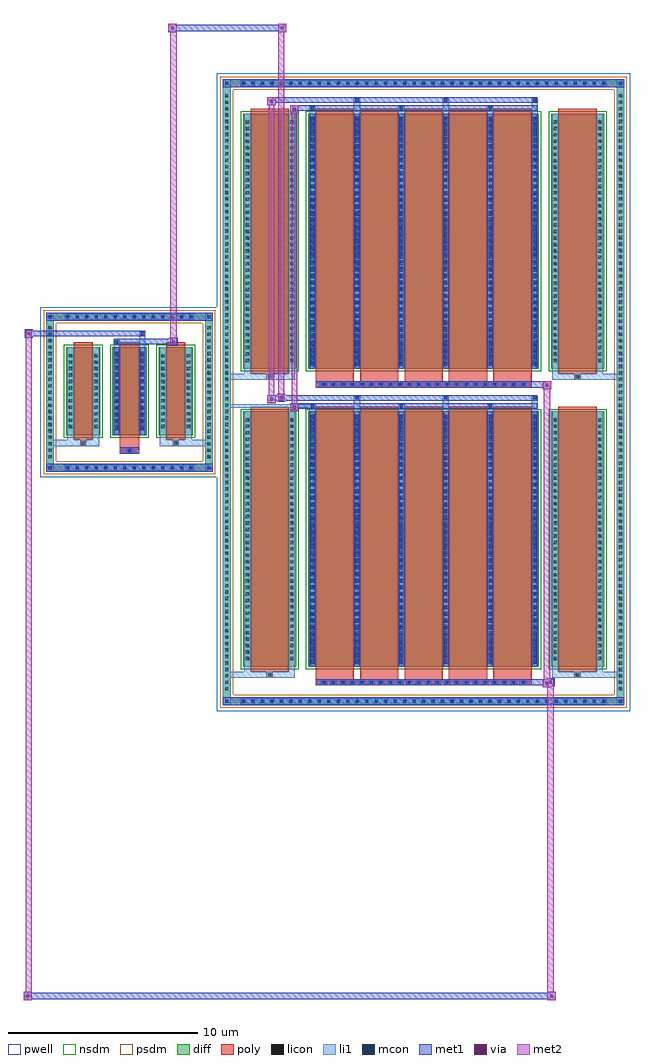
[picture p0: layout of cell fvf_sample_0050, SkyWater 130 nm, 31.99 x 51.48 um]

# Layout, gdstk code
import gdstk
lib = gdstk.Library(unit=1e-6, precision=1e-09)
def R(c, l, rs):  # rectangles x0, y0, x1, y1
    for r in rs: c.add(gdstk.rectangle(r[:2], r[2:], *l))
def A(c, l, x, y, w, h, nx, ny, dx, dy):  # array of equal rectangles
    R(c, l, [(x+i*dx, y+j*dy, x+i*dx+w, y+j*dy+h) for i in range(nx) for j in range(ny)])
def P(c, l, *ps):  # polygons
    for p in ps: c.add(gdstk.Polygon(p, *l))
pwell = (64, 44)
diff = (65, 20)
poly = (66, 20)
licon = (66, 44)
li1 = (67, 20)
mcon = (67, 44)
met1 = (68, 20)
via = (68, 44)
met2 = (69, 20)
nsdm = (93, 44)
psdm = (94, 20)

fvf_sample_0050 = lib.new_cell('fvf_sample_0050')
R(fvf_sample_0050, pwell, [(4.614,-16.816,26.412,16.816), (-4.714,-4.493,4.714,4.493)])
A(fvf_sample_0050, diff, 5.808, -16.506, 0.41, 0.41, 39, 2, 0.5, 32.602)
A(fvf_sample_0050, diff, 4.924, -15.845, 0.41, 0.41, 1, 93, 0, 0.34)
A(fvf_sample_0050, diff, 25.692, -15.845, 0.41, 0.41, 1, 93, 0, 0.34)
A(fvf_sample_0050, diff, -3.455, -4.183, 0.41, 0.41, 14, 2, 0.5, 7.956)
A(fvf_sample_0050, diff, -4.404, -3.605, 0.41, 0.41, 1, 21, 0, 0.34)
A(fvf_sample_0050, diff, 3.994, -3.605, 0.41, 0.41, 1, 21, 0, 0.34)
A(fvf_sample_0050, diff, -3.334, -2.261, 1.796, 4.638, 3, 1, 2.436, 0)
R(fvf_sample_0050, diff, [(5.808,-16.506,25.218,-16.096), (4.924,-15.845,5.334,15.845), (25.692,-15.845,26.102,15.845), (5.994,-14.485,8.788,-1.015), (9.428,-14.485,21.598,-1.015), (22.238,-14.485,25.032,-1.015), (-3.455,-4.183,3.455,-3.773), (-4.404,-3.605,-3.994,3.605), (3.994,-3.605,4.404,3.605), (5.994,1.231,8.788,14.701), (9.428,1.231,21.598,14.701), (22.238,1.231,25.032,14.701), (-3.455,3.773,3.455,4.183), (5.808,16.096,25.218,16.506)])
P(fvf_sample_0050, diff, [(4.404,4.183),(-4.404,4.183),(-4.404,-3.773),(-3.994,-3.773),(-3.994,3.773),(3.994,3.773),(3.994,-3.773),(-3.994,-3.773),(-4.404,-3.773),(-4.404,-4.183),(4.404,-4.183)],
  [(26.102,16.506),(4.924,16.506),(4.924,-16.096),(5.334,-16.096),(5.334,16.096),(25.692,16.096),(25.692,-16.096),(5.334,-16.096),(4.924,-16.096),(4.924,-16.506),(26.102,-16.506)])
A(fvf_sample_0050, poly, 10.098, -15.466, 0.33, 0.33, 22, 2, 0.5, 15.716)
A(fvf_sample_0050, poly, 9.818, -15.136, 2.014, 0.401, 5, 2, 2.344, 15.716)
A(fvf_sample_0050, poly, 9.818, -14.735, 2.014, 13.97, 5, 2, 2.344, 15.716)
A(fvf_sample_0050, poly, -2.944, -2.511, 1.016, 5.138, 3, 1, 2.436, 0)
R(fvf_sample_0050, poly, [(9.818,-15.466,21.208,-15.136), (7.226,-15.065,7.556,-14.735), (7.226,-15.065,7.556,-14.735), (23.47,-15.065,23.8,-14.735), (23.47,-15.065,23.8,-14.735), (6.384,-14.735,8.398,-0.765), (22.628,-14.735,24.642,-0.765), (-0.508,-3.242,0.508,-2.912), (-0.165,-3.242,0.165,-2.912), (-0.508,-2.912,0.508,-2.511), (-2.601,-2.841,-2.271,-2.511), (-2.601,-2.841,-2.271,-2.511), (2.271,-2.841,2.601,-2.511), (2.271,-2.841,2.601,-2.511), (9.818,0.25,21.208,0.58), (7.226,0.651,7.556,0.981), (7.226,0.651,7.556,0.981), (23.47,0.651,23.8,0.981), (23.47,0.651,23.8,0.981), (6.384,0.981,8.398,14.951), (22.628,0.981,24.642,14.951)])
A(fvf_sample_0050, licon, 5.928, -16.386, 0.17, 0.17, 39, 2, 0.5, 32.602)
A(fvf_sample_0050, licon, 5.044, -15.725, 0.17, 0.17, 1, 93, 0, 0.34)
A(fvf_sample_0050, licon, 25.812, -15.725, 0.17, 0.17, 1, 93, 0, 0.34)
A(fvf_sample_0050, licon, 10.178, -15.386, 0.17, 0.17, 22, 2, 0.5, 15.716)
A(fvf_sample_0050, licon, 6.134, -14.125, 0.17, 0.17, 1, 38, 0, 0.34)
A(fvf_sample_0050, licon, 8.478, -14.125, 0.17, 0.17, 1, 38, 0, 0.34)
A(fvf_sample_0050, licon, 9.568, -14.125, 0.17, 0.17, 6, 38, 2.344, 0.34)
A(fvf_sample_0050, licon, 22.378, -14.125, 0.17, 0.17, 1, 38, 0, 0.34)
A(fvf_sample_0050, licon, 24.722, -14.125, 0.17, 0.17, 1, 38, 0, 0.34)
A(fvf_sample_0050, licon, -3.335, -4.063, 0.17, 0.17, 14, 2, 0.5, 7.956)
A(fvf_sample_0050, licon, -4.284, -3.485, 0.17, 0.17, 1, 21, 0, 0.34)
A(fvf_sample_0050, licon, 4.114, -3.485, 0.17, 0.17, 1, 21, 0, 0.34)
A(fvf_sample_0050, licon, -3.194, -1.897, 0.17, 0.17, 1, 12, 0, 0.34)
A(fvf_sample_0050, licon, -1.848, -1.897, 0.17, 0.17, 1, 12, 0, 0.34)
A(fvf_sample_0050, licon, -0.758, -1.897, 0.17, 0.17, 1, 12, 0, 0.34)
A(fvf_sample_0050, licon, 0.588, -1.897, 0.17, 0.17, 1, 12, 0, 0.34)
A(fvf_sample_0050, licon, 1.678, -1.897, 0.17, 0.17, 1, 12, 0, 0.34)
A(fvf_sample_0050, licon, 3.024, -1.897, 0.17, 0.17, 1, 12, 0, 0.34)
A(fvf_sample_0050, licon, 6.134, 1.591, 0.17, 0.17, 1, 38, 0, 0.34)
A(fvf_sample_0050, licon, 8.478, 1.591, 0.17, 0.17, 1, 38, 0, 0.34)
A(fvf_sample_0050, licon, 9.568, 1.591, 0.17, 0.17, 6, 38, 2.344, 0.34)
A(fvf_sample_0050, licon, 22.378, 1.591, 0.17, 0.17, 1, 38, 0, 0.34)
A(fvf_sample_0050, licon, 24.722, 1.591, 0.17, 0.17, 1, 38, 0, 0.34)
R(fvf_sample_0050, licon, [(7.306,-14.985,7.476,-14.815), (23.55,-14.985,23.72,-14.815), (-0.085,-3.162,0.085,-2.992), (-2.521,-2.761,-2.351,-2.591), (2.351,-2.761,2.521,-2.591), (7.306,0.731,7.476,0.901), (23.55,0.731,23.72,0.901)])
A(fvf_sample_0050, li1, 5.848, -16.466, 0.33, 0.33, 39, 2, 0.5, 32.602)
A(fvf_sample_0050, li1, 4.964, -15.805, 0.33, 0.33, 1, 93, 0, 0.34)
A(fvf_sample_0050, li1, 25.732, -15.805, 0.33, 0.33, 1, 93, 0, 0.34)
A(fvf_sample_0050, li1, 10.098, -15.466, 0.33, 0.33, 22, 2, 0.5, 15.716)
A(fvf_sample_0050, li1, 9.488, -14.485, 0.33, 13.47, 6, 2, 2.344, 15.716)
A(fvf_sample_0050, li1, 9.568, -14.315, 0.17, 0.17, 6, 37, 2.344, 0.36)
A(fvf_sample_0050, li1, 9.568, -14.315, 0.17, 13.13, 6, 2, 2.344, 15.716)
A(fvf_sample_0050, li1, 6.054, -14.205, 0.33, 0.33, 1, 38, 0, 0.34)
A(fvf_sample_0050, li1, 8.398, -14.205, 0.33, 0.33, 1, 38, 0, 0.34)
A(fvf_sample_0050, li1, 9.488, -14.205, 0.33, 0.33, 6, 38, 2.344, 0.34)
A(fvf_sample_0050, li1, 22.298, -14.205, 0.33, 0.33, 1, 38, 0, 0.34)
A(fvf_sample_0050, li1, 24.642, -14.205, 0.33, 0.33, 1, 38, 0, 0.34)
A(fvf_sample_0050, li1, -3.415, -4.143, 0.33, 0.33, 14, 2, 0.5, 7.956)
A(fvf_sample_0050, li1, -4.364, -3.565, 0.33, 0.33, 1, 21, 0, 0.34)
A(fvf_sample_0050, li1, 4.034, -3.565, 0.33, 0.33, 1, 21, 0, 0.34)
A(fvf_sample_0050, li1, -0.758, -2.007, 0.17, 0.17, 1, 12, 0, 0.36)
A(fvf_sample_0050, li1, 0.588, -2.007, 0.17, 0.17, 1, 12, 0, 0.36)
A(fvf_sample_0050, li1, -3.274, -1.977, 0.33, 0.33, 1, 12, 0, 0.34)
A(fvf_sample_0050, li1, -1.928, -1.977, 0.33, 0.33, 1, 12, 0, 0.34)
A(fvf_sample_0050, li1, -0.838, -1.977, 0.33, 0.33, 1, 12, 0, 0.34)
A(fvf_sample_0050, li1, 0.508, -1.977, 0.33, 0.33, 1, 12, 0, 0.34)
A(fvf_sample_0050, li1, 1.598, -1.977, 0.33, 0.33, 1, 12, 0, 0.34)
A(fvf_sample_0050, li1, 2.944, -1.977, 0.33, 0.33, 1, 12, 0, 0.34)
A(fvf_sample_0050, li1, 9.488, -1.015, 0.33, 0.375, 3, 2, 4.688, 15.716)
A(fvf_sample_0050, li1, 11.832, -1.015, 0.33, 0.805, 3, 2, 4.688, 15.716)
A(fvf_sample_0050, li1, 9.568, -0.81, 0.17, 0.17, 3, 2, 4.688, 15.716)
A(fvf_sample_0050, li1, 11.912, -0.38, 0.17, 0.17, 3, 2, 4.688, 15.716)
A(fvf_sample_0050, li1, 9.568, 1.401, 0.17, 0.17, 6, 37, 2.344, 0.36)
A(fvf_sample_0050, li1, 6.054, 1.511, 0.33, 0.33, 1, 38, 0, 0.34)
A(fvf_sample_0050, li1, 8.398, 1.511, 0.33, 0.33, 1, 38, 0, 0.34)
A(fvf_sample_0050, li1, 9.488, 1.511, 0.33, 0.33, 6, 38, 2.344, 0.34)
A(fvf_sample_0050, li1, 22.298, 1.511, 0.33, 0.33, 1, 38, 0, 0.34)
A(fvf_sample_0050, li1, 24.642, 1.511, 0.33, 0.33, 1, 38, 0, 0.34)
R(fvf_sample_0050, li1, [(4.924,-16.506,5.334,-16.096), (25.692,-16.506,26.102,-16.096), (5.848,-16.466,25.178,-16.136), (5.044,-16.386,5.214,-16.216), (5.044,-16.386,5.214,-16.216), (25.812,-16.386,25.982,-16.216), (25.812,-16.386,25.982,-16.216), (4.924,-16.096,5.334,16.096), (25.692,-16.096,26.102,16.096), (4.924,-15.065,7.226,-14.735), (6.054,-15.065,6.384,-14.485), (6.054,-15.065,7.226,-14.735), (7.226,-15.065,7.556,-14.735), (7.556,-15.065,8.728,-14.735), (8.398,-15.065,8.728,-14.485), (22.298,-15.065,22.628,-14.485), (22.298,-15.065,23.47,-14.735), (23.47,-15.065,23.8,-14.735), (23.47,-15.065,26.102,-14.735), (23.8,-15.065,24.972,-14.735), (24.642,-15.065,24.972,-14.485), (6.054,-14.485,6.384,-1.015), (8.398,-14.485,8.728,-1.015), (22.298,-14.485,22.628,-1.015), (24.642,-14.485,24.972,-1.015), (-4.404,-4.183,-3.994,-3.773), (3.994,-4.183,4.404,-3.773), (-3.415,-4.143,3.415,-3.813), (-4.284,-4.063,-4.114,-3.893), (-4.284,-4.063,-4.114,-3.893), (4.114,-4.063,4.284,-3.893), (4.114,-4.063,4.284,-3.893), (-4.404,-3.773,-3.994,3.773), (3.994,-3.773,4.404,3.773), (-0.165,-3.242,0.165,-2.912), (-4.404,-2.841,-2.601,-2.511), (-3.274,-2.841,-2.601,-2.511), (-3.274,-2.841,-2.944,-2.261), (-2.601,-2.841,-2.271,-2.511), (-2.271,-2.841,-1.598,-2.511), (-1.928,-2.841,-1.598,-2.261), (1.598,-2.841,2.271,-2.511), (1.598,-2.841,1.928,-2.261), (2.271,-2.841,2.601,-2.511), (2.271,-2.841,4.404,-2.511), (2.601,-2.841,3.274,-2.511), (2.944,-2.841,3.274,-2.261), (-3.274,-2.261,-2.944,2.377), (-1.928,-2.261,-1.598,2.377), (-0.838,-2.261,-0.508,2.377), (0.508,-2.261,0.838,2.377), (1.598,-2.261,1.928,2.377), (2.944,-2.261,3.274,2.377), (-0.758,-2.007,-0.588,2.123), (0.588,-2.007,0.758,2.123), (9.508,-0.87,9.798,-0.58), (4.924,-0.825,9.508,-0.625), (9.568,-0.81,9.738,-0.64), (4.924,0.651,7.226,0.981), (6.054,0.651,6.384,1.231), (6.054,0.651,7.226,0.981), (7.226,0.651,7.556,0.981), (7.556,0.651,8.728,0.981), (8.398,0.651,8.728,1.231), (22.298,0.651,22.628,1.231), (22.298,0.651,23.47,0.981), (23.47,0.651,23.8,0.981), (23.47,0.651,26.102,0.981), (23.8,0.651,24.972,0.981), (24.642,0.651,24.972,1.231), (6.054,1.231,6.384,14.701), (8.398,1.231,8.728,14.701), (22.298,1.231,22.628,14.701), (24.642,1.231,24.972,14.701), (-0.838,2.377,-0.508,2.752), (0.508,2.377,0.838,3.182), (-0.758,2.582,-0.588,2.752), (0.588,3.012,0.758,3.182), (-4.404,3.773,-3.994,4.183), (3.994,3.773,4.404,4.183), (-3.415,3.813,3.415,4.143), (-4.284,3.893,-4.114,4.063), (-4.284,3.893,-4.114,4.063), (4.114,3.893,4.284,4.063), (4.114,3.893,4.284,4.063), (4.924,16.096,5.334,16.506), (25.692,16.096,26.102,16.506), (5.848,16.136,25.178,16.466), (5.044,16.216,5.214,16.386), (5.044,16.216,5.214,16.386), (25.812,16.216,25.982,16.386), (25.812,16.216,25.982,16.386)])
A(fvf_sample_0050, mcon, 5.928, -16.386, 0.17, 0.17, 39, 2, 0.5, 32.602)
A(fvf_sample_0050, mcon, 10.178, -15.386, 0.17, 0.17, 22, 2, 0.5, 15.716)
A(fvf_sample_0050, mcon, 9.568, -14.315, 0.17, 0.17, 6, 37, 2.344, 0.36)
A(fvf_sample_0050, mcon, -3.335, -4.063, 0.17, 0.17, 14, 2, 0.5, 7.956)
A(fvf_sample_0050, mcon, -0.758, -2.007, 0.17, 0.17, 1, 12, 0, 0.36)
A(fvf_sample_0050, mcon, 0.588, -2.007, 0.17, 0.17, 1, 12, 0, 0.36)
A(fvf_sample_0050, mcon, 9.568, -0.81, 0.17, 0.17, 3, 2, 4.688, 15.716)
A(fvf_sample_0050, mcon, 11.912, -0.38, 0.17, 0.17, 3, 2, 4.688, 15.716)
A(fvf_sample_0050, mcon, 9.568, 1.401, 0.17, 0.17, 6, 37, 2.344, 0.36)
R(fvf_sample_0050, mcon, [(5.044,-16.386,5.214,-16.216), (25.812,-16.386,25.982,-16.216), (-4.284,-4.063,-4.114,-3.893), (4.114,-4.063,4.284,-3.893), (-0.085,-3.162,0.085,-2.992), (9.568,-0.81,9.738,-0.64), (-0.758,2.582,-0.588,2.752), (0.588,3.012,0.758,3.182), (-4.284,3.893,-4.114,4.063), (4.114,3.893,4.284,4.063), (5.044,16.216,5.214,16.386), (25.812,16.216,25.982,16.386)])
A(fvf_sample_0050, met1, 5.868, -16.446, 0.29, 0.29, 39, 2, 0.5, 32.602)
A(fvf_sample_0050, met1, 10.118, -15.446, 0.29, 0.29, 22, 2, 0.5, 15.716)
A(fvf_sample_0050, met1, 9.508, -14.485, 0.29, 13.47, 6, 2, 2.344, 15.716)
A(fvf_sample_0050, met1, 9.508, -14.375, 0.29, 0.29, 6, 37, 2.344, 0.36)
A(fvf_sample_0050, met1, -3.395, -4.123, 0.29, 0.29, 14, 2, 0.5, 7.956)
A(fvf_sample_0050, met1, -0.818, -2.067, 0.29, 0.29, 1, 12, 0, 0.36)
A(fvf_sample_0050, met1, 0.528, -2.067, 0.29, 0.29, 1, 12, 0, 0.36)
A(fvf_sample_0050, met1, 9.508, -0.87, 0.29, 0.29, 3, 2, 4.688, 15.716)
A(fvf_sample_0050, met1, 11.852, -0.44, 0.29, 0.29, 3, 2, 4.688, 15.716)
A(fvf_sample_0050, met1, 9.508, 1.341, 0.29, 0.29, 6, 37, 2.344, 0.36)
R(fvf_sample_0050, met1, [(-5.576,-32.058,-5.146,-31.628), (22.043,-32.058,22.473,-31.628), (-5.576,-32.008,22.473,-31.678), (-5.576,-31.678,-5.146,-31.628), (22.043,-31.678,22.473,-31.628), (4.924,-16.506,5.334,-16.096), (4.924,-16.506,5.334,-16.096), (5.334,-16.506,25.692,-16.096), (25.692,-16.506,26.102,-16.096), (25.692,-16.506,26.102,-16.096), (4.984,-16.446,5.274,-16.156), (25.752,-16.446,26.042,-16.156), (21.808,-15.566,22.238,-15.136), (21.993,-15.516,22.423,-15.086), (9.818,-15.466,21.208,-15.136), (21.208,-15.466,21.993,-15.136), (21.208,-15.466,22.238,-15.136), (-4.404,-4.183,-3.994,-3.773), (-4.404,-4.183,-3.994,-3.773), (-3.994,-4.183,3.994,-3.773), (3.994,-4.183,4.404,-3.773), (3.994,-4.183,4.404,-3.773), (-4.344,-4.123,-4.054,-3.833), (4.054,-4.123,4.344,-3.833), (-0.508,-3.242,0.508,-2.912), (-0.145,-3.222,0.145,-2.932), (-0.818,-2.261,-0.528,2.377), (0.528,-2.261,0.818,2.377), (8.478,-1.01,8.908,-0.58), (8.478,-0.87,9.508,-0.58), (9.508,-0.87,9.798,-0.58), (9.508,-0.87,21.518,-0.58), (7.278,-0.58,7.708,-0.15), (7.793,-0.51,8.223,-0.08), (7.278,-0.44,9.508,-0.15), (8.223,-0.44,9.508,-0.15), (9.508,-0.44,21.518,-0.15), (21.808,0.15,22.238,0.58), (9.818,0.25,21.208,0.58), (21.208,0.25,22.238,0.58), (2.103,2.452,2.533,2.882), (-0.818,2.522,-0.528,2.812), (-0.818,2.522,0.818,2.812), (0.818,2.522,2.103,2.812), (-5.526,2.882,-5.096,3.312), (-5.096,2.952,-0.818,3.242), (-0.818,2.952,0.818,3.242), (0.528,2.952,0.818,3.242), (-4.404,3.773,-3.994,4.183), (-4.404,3.773,-3.994,4.183), (-3.994,3.773,3.994,4.183), (3.994,3.773,4.404,4.183), (3.994,3.773,4.404,4.183), (-4.344,3.833,-4.054,4.123), (4.054,3.833,4.344,4.123), (8.478,14.706,8.908,15.136), (8.478,14.846,9.508,15.136), (9.508,14.846,21.518,15.136), (7.278,15.136,7.708,15.566), (7.278,15.276,9.508,15.566), (9.508,15.276,21.518,15.566), (4.924,16.096,5.334,16.506), (4.924,16.096,5.334,16.506), (5.334,16.096,25.692,16.506), (25.692,16.096,26.102,16.506), (25.692,16.096,26.102,16.506), (4.984,16.156,5.274,16.446), (25.752,16.156,26.042,16.446), (2.053,18.994,2.483,19.424), (7.843,18.994,8.273,19.424), (2.053,19.044,8.273,19.374), (2.053,19.374,2.483,19.424), (7.843,19.374,8.273,19.424)])
R(fvf_sample_0050, via, [(-5.436,-31.918,-5.286,-31.768), (22.183,-31.918,22.333,-31.768), (21.948,-15.426,22.098,-15.276), (22.133,-15.376,22.283,-15.226), (8.618,-0.87,8.768,-0.72), (7.418,-0.44,7.568,-0.29), (7.933,-0.37,8.083,-0.22), (21.948,0.29,22.098,0.44), (2.243,2.592,2.393,2.742), (-5.386,3.022,-5.236,3.172), (8.618,14.846,8.768,14.996), (7.418,15.276,7.568,15.426), (2.193,19.134,2.343,19.284), (7.983,19.134,8.133,19.284)])
R(fvf_sample_0050, met2, [(-5.576,-32.058,-5.146,-31.628), (-5.476,-32.058,-5.146,2.932), (22.043,-32.058,22.473,-31.628), (22.043,-32.058,22.373,-15.466), (-5.526,-32.008,-5.196,-31.678), (22.093,-32.008,22.423,-31.678), (21.808,-15.566,22.238,-15.136), (21.858,-15.566,22.188,0.58), (22.188,-15.566,22.238,-15.136), (21.858,-15.516,22.188,-15.186), (22.043,-15.466,22.373,-15.136), (8.478,-1.01,8.908,-0.58), (8.548,-1.01,8.838,15.136), (8.838,-1.01,8.908,-0.58), (8.528,-0.96,8.858,-0.63), (7.278,-0.58,7.708,-0.15), (7.348,-0.58,7.638,15.566), (7.638,-0.58,7.708,-0.15), (7.328,-0.53,7.658,-0.2), (7.843,-0.46,8.173,-0.13), (7.843,-0.13,8.173,19.424), (21.808,0.15,22.238,0.58), (22.188,0.15,22.238,0.58), (21.858,0.2,22.188,0.53), (2.153,2.502,2.483,2.832), (2.153,2.832,2.483,19.424), (-5.476,2.932,-5.146,3.262), (8.478,14.706,8.908,15.136), (8.838,14.706,8.908,15.136), (8.528,14.756,8.858,15.086), (7.278,15.136,7.708,15.566), (7.638,15.136,7.708,15.566), (7.328,15.186,7.658,15.516), (2.053,18.994,2.483,19.424), (7.843,18.994,8.273,19.424), (2.103,19.044,2.433,19.374), (7.893,19.044,8.223,19.374)])
A(fvf_sample_0050, nsdm, -3.464, -2.391, 2.056, 4.898, 3, 1, 2.436, 0)
R(fvf_sample_0050, nsdm, [(5.864,-14.615,8.918,-0.885), (9.298,-14.615,21.728,-0.885), (22.108,-14.615,25.162,-0.885), (5.864,1.101,8.918,14.831), (9.298,1.101,21.728,14.831), (22.108,1.101,25.162,14.831)])
P(fvf_sample_0050, psdm, [(4.534,4.313),(-4.534,4.313),(-4.534,-3.643),(-3.864,-3.643),(-3.864,3.643),(3.864,3.643),(3.864,-3.643),(-3.864,-3.643),(-4.534,-3.643),(-4.534,-4.313),(4.534,-4.313)],
  [(26.232,16.636),(4.794,16.636),(4.794,-15.966),(5.464,-15.966),(5.464,15.966),(25.562,15.966),(25.562,-15.966),(5.464,-15.966),(4.794,-15.966),(4.794,-16.636),(26.232,-16.636)])

lib.write_gds('fvf_sample_0050.gds')
